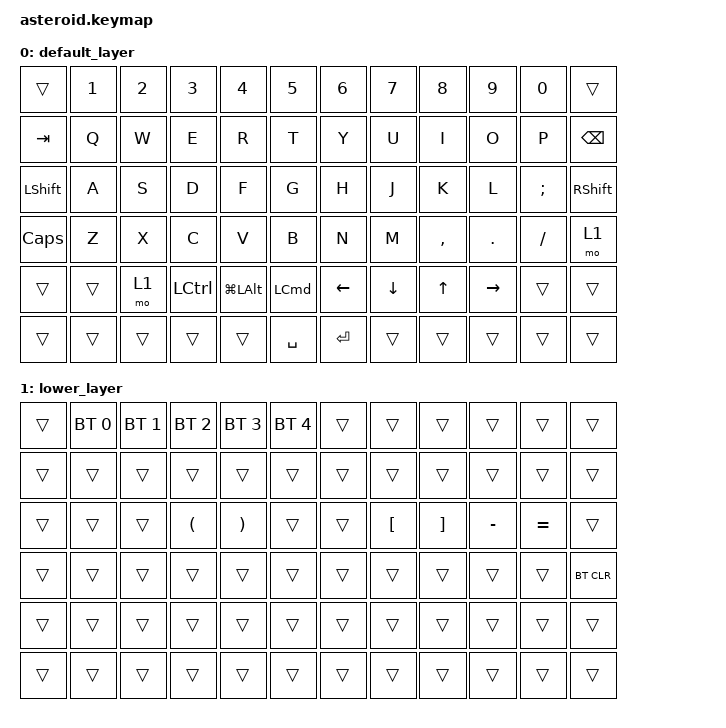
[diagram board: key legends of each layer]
#include <behaviors.dtsi>
#include <dt-bindings/zmk/bt.h>
#include <dt-bindings/zmk/keys.h>

/ {
    keymap {
        compatible = "zmk,keymap";

        default_layer {
            // Physical layout mapping based on the provided images
            // Left Half:                                Right Half:
            // |      |  1  |  2  |  3  |  4  |  5  |     |  6  |  7  |  8  |  9  |  0  |      |
            // | TAB  |  Q  |  W  |  E  |  R  |  T  |     |  Y  |  U  |  I  |  O  |  P  | BKSP |
            // | SHFT |  A  |  S  |  D  |  F  |  G  |     |  H  |  J  |  K  |  L  |  ;  | SHFT |
            // | CAPS |  Z  |  X  |  C  |  V  |  B  |     |  N  |  M  |  ,  |  .  |  /  |BT_SEL|
            // |      |     | L1  | CTRL|ALT/OPT| CMD |     | LEFT| DOWN|  UP |RIGHT|     |      |
            // |      |     |     |     |     | SPC |     | ENT |     |     |     |     |      |

            bindings = <
&trans    &kp N1   &kp N2   &kp N3    &kp N4            &kp N5       &kp N6     &kp N7    &kp N8        &kp N9     &kp N0    &trans
&kp TAB   &kp Q    &kp W    &kp E     &kp R             &kp T        &kp Y      &kp U     &kp I         &kp O      &kp P     &kp BACKSPACE
&kp LSHFT &kp A    &kp S    &kp D     &kp F             &kp G        &kp H      &kp J     &kp K         &kp L      &kp SEMI  &kp RSHFT
&kp CAPS  &kp Z    &kp X    &kp C     &kp V             &kp B        &kp N      &kp M     &kp COMMA     &kp DOT    &kp FSLH  &mo 1
&trans    &trans   &mo 1    &kp LCTRL &kp LG(LEFT_ALT)  &kp LCMD     &kp LEFT   &kp DOWN  &kp UP_ARROW  &kp RIGHT  &trans    &trans
&trans    &trans   &trans   &trans    &trans            &kp SPACE    &kp ENTER  &trans    &trans        &trans     &trans    &trans
            >;
        };

        lower_layer {
            // Layer 1 - Bluetooth controls, symbols, and function keys
            // |      | BT1 | BT2 | BT3 | BT4 | BT5 |     |     |     |     |     |     |      |
            // |      |     |     |     |     |     |     |     |     |     |     |     |      |
            // |      |     |     |  (  |  )  |     |     |     |  [  |  ]  |  -  |  =  |      |
            // |      |     |     |     |     |     |     |     |     |     |     |     |BTCLR |
            // |      |     |     |     |     |     |     |     |     |     |     |     |      |
            // |      |     |     |     |     |     |     |     |     |     |     |     |      |

            bindings = <
&trans  &bt BT_SEL 0  &bt BT_SEL 1  &bt BT_SEL 2  &bt BT_SEL 3  &bt BT_SEL 4    &trans  &trans    &trans    &trans     &trans     &trans
&trans  &trans        &trans        &trans        &trans        &trans          &trans  &trans    &trans    &trans     &trans     &trans
&trans  &trans        &trans        &kp LPAR      &kp RPAR      &trans          &trans  &kp LBKT  &kp RBKT  &kp MINUS  &kp EQUAL  &trans
&trans  &trans        &trans        &trans        &trans        &trans          &trans  &trans    &trans    &trans     &trans     &bt BT_CLR
&trans  &trans        &trans        &trans        &trans        &trans          &trans  &trans    &trans    &trans     &trans     &trans
&trans  &trans        &trans        &trans        &trans        &trans          &trans  &trans    &trans    &trans     &trans     &trans
            >;
        };
    };
};
